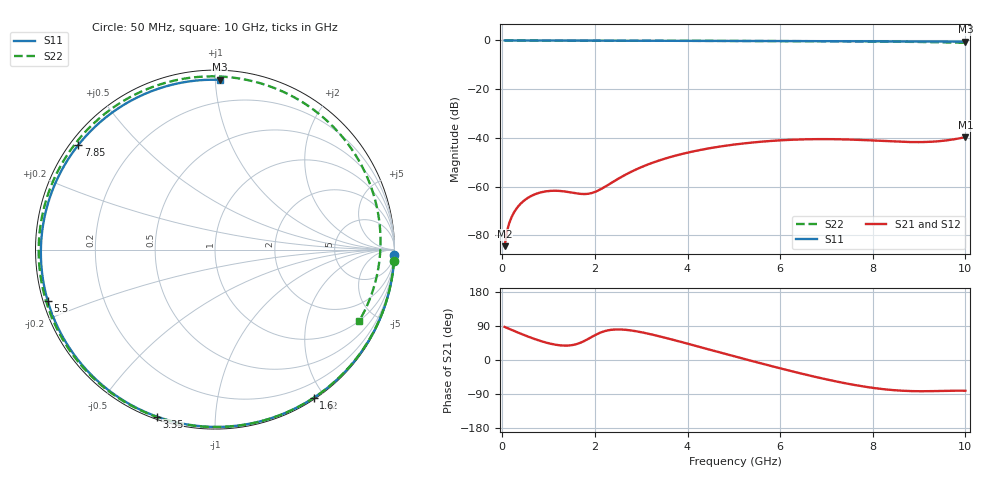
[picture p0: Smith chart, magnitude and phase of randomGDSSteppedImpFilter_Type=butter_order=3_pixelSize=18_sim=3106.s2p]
! freq	dB(S11)	phase(S11)	dB(S12)	phase(S12)
!  dB(S21)	phase(S21)	dB(S22)	phase(S22)
!S-par simulation data
#  GHz  S  DB  R 50
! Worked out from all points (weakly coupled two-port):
!   200 points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, 50 MHz to 10 GHz, reference 50 ohm
!   highest |S21| = -39.72 dB at 10 GHz (marker M1); lowest = -84.5 dB at 50 MHz (marker M2)
!   lowest |S11| = -0.5 dB at 10 GHz (marker M3), VSWR 36.23, Z = 2.84 + j51.4 ohm
!   |S11| at or under -10 dB: nowhere
!   |S22| runs from -1.0 to 0.0 dB; largest |S21 - S12| = 0
!   S11 on the Smith chart (normalised r, x): 50 MHz: 0, -62; 1.6 GHz: 0.02, -1.87; 3.35 GHz: 0.01, -0.71; 5.5 GHz: 0.01, -0.15; 7.85 GHz: 0.02, +0.34; 10 GHz: 0.06, +1.03
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0.05  -0.00 -1.8  -84.51 87.4  -84.51 87.4  -0.00 -3.5
0.1  -0.00 -3.7  -78.52 84.7  -78.52 84.7  -0.01 -7.0
0.2  -0.01 -7.3  -72.60 79.5  -72.60 79.5  -0.02 -14.0
0.3  -0.02 -10.9  -69.25 74.4  -69.25 74.4  -0.03 -20.8
0.6  -0.03 -21.7  -64.14 59.8  -64.14 59.8  -0.05 -40.9
1.1  -0.05 -39.4  -61.75 41.5  -61.75 41.5  -0.08 -71.6
1.6  -0.07 -56.4  -62.81 41.8  -62.81 41.8  -0.10 -98.3
1.75  -0.07 -61.3  -63.09 48.9  -63.09 48.9  -0.11 -105.5
2.05  -0.09 -70.9  -61.83 68.5  -61.83 68.5  -0.12 -119.0
2.5  -0.10 -84.8  -56.86 80.7  -56.86 80.7  -0.12 -137.1
3.35  -0.13 -109.2  -49.54 63.8  -49.54 63.8  -0.14 -166.7
3.4  -0.13 -110.6  -49.22 62.3  -49.22 62.3  -0.14 -168.3
4.2  -0.16 -131.5  -45.28 36.5  -45.28 36.5  -0.17 167.3
5.05  -0.20 -152.3  -42.67 8.5  -42.67 8.5  -0.20 142.8
5.5  -0.22 -162.9  -41.75 -6.1  -41.75 -6.1  -0.22 129.9
6.1  -0.26 -176.8  -40.93 -25.0  -40.93 -25.0  -0.26 112.3
6.7  -0.29 169.4  -40.56 -42.9  -40.56 -42.9  -0.30 94.1
7.3  -0.33 155.5  -40.61 -58.8  -40.61 -58.8  -0.35 75.0
7.85  -0.36 142.5  -40.96 -70.8  -40.96 -70.8  -0.41 56.5
8.35  -0.39 130.5  -41.42 -78.5  -41.42 -78.5  -0.48 38.7
9.2  -0.44 109.2  -41.67 -82.3  -41.67 -82.3  -0.66 6.4
10  -0.48 88.3  -39.72 -81.1  -39.72 -81.1  -0.95 -26.5
